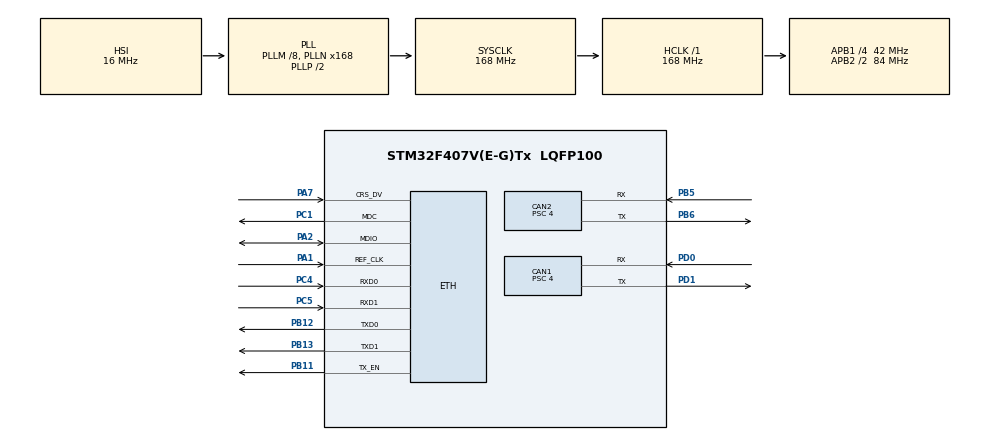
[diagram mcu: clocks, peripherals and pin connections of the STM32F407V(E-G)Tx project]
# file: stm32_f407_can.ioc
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CAN1.AWUM=DISABLE
CAN1.BS1=CAN_BS1_15TQ
CAN1.BS2=CAN_BS2_5TQ
CAN1.CalculateTimeQuantum=95.23809523809524
CAN1.Prescaler=4
CAN2.BS1=CAN_BS1_15TQ
CAN2.BS2=CAN_BS2_5TQ
CAN2.CalculateTimeQuantum=95.23809523809524
CAN2.Prescaler=4
ETH.MACAddr=00\:80\:E1\:83\:05\:17
ETH.MediaInterface=ETH_MEDIA_INTERFACE_RMII
ETH.PHY_DUPLEX_STATUS=0x0004
ETH.PHY_ISFR_INT4=0x2000
ETH.PHY_Name_RMII=DP83848_PHY_ADDRESS
ETH.PHY_SPEED_STATUS=0x0002
ETH.PHY_SR=0x10
ETH.PhyAddress=1
FREERTOS.Tasks01=defaultTask,0,128,StartDefaultTask,Default,NULL,Dynamic,NULL,NULL;canTask,0,256,canopen_dataprocess_thread,As external,NULL,Dynamic,NULL,NULL
LWIP.DHCP_DEBUG=LWIP_DBG_ON
LWIP.ETHARP_DEBUG=LWIP_DBG_OFF
LWIP.INET_DEBUG=LWIP_DBG_OFF
LWIP.LWIP_DBG_TYPES_ON=LWIP_DBG_ON
LWIP.NETIF_DEBUG=LWIP_DBG_OFF
LWIP.PBUF_DEBUG=LWIP_DBG_OFF
LWIP.SOCKETS_DEBUG=LWIP_DBG_ON
LWIP.SYS_DEBUG=LWIP_DBG_OFF
LWIP.Version=v2.0.3_Cube
Mcu.Family=STM32F4
Mcu.Name=STM32F407V(E-G)Tx
Mcu.Package=LQFP100
NVIC.CAN1_RX0_IRQn=true\:5\:0\:false\:false\:true\:true\:true\:true
NVIC.ETH_IRQn=true\:5\:0\:false\:false\:true\:true\:false\:true
NVIC.PriorityGroup=NVIC_PRIORITYGROUP_4
NVIC.TIM1_UP_TIM10_IRQn=true\:0\:0\:false\:false\:true\:false\:false\:true
NVIC.TimeBase=TIM1_UP_TIM10_IRQn
NVIC.TimeBaseIP=TIM1
PA1.Mode=RMII
PA1.Signal=ETH_REF_CLK
PA13.Mode=Trace_Asynchronous_SW
PA13.Signal=SYS_JTMS-SWDIO
PA14.Mode=Trace_Asynchronous_SW
PA14.Signal=SYS_JTCK-SWCLK
PA2.Mode=RMII
PA2.Signal=ETH_MDIO
PA7.Mode=RMII
PA7.Signal=ETH_CRS_DV
PB11.Mode=RMII
PB11.Signal=ETH_TX_EN
PB12.Mode=RMII
PB12.Signal=ETH_TXD0
PB13.Mode=RMII
PB13.Signal=ETH_TXD1
PB3.Mode=Trace_Asynchronous_SW
PB3.Signal=SYS_JTDO-SWO
PB5.GPIO_PuPd=GPIO_NOPULL
PB5.Mode=Slave
PB5.Signal=CAN2_RX
PB6.GPIO_PuPd=GPIO_NOPULL
PB6.Mode=Slave
PB6.Signal=CAN2_TX
PC1.Mode=RMII
PC1.Signal=ETH_MDC
PC4.Mode=RMII
PC4.Signal=ETH_RXD0
PC5.Mode=RMII
PC5.Signal=ETH_RXD1
PD0.GPIO_PuPd=GPIO_NOPULL
PD0.Mode=Master
PD0.Signal=CAN1_RX
PD1.GPIO_PuPd=GPIO_NOPULL
PD1.Mode=Master
PD1.Signal=CAN1_TX
ProjectManager.HeapSize=0x200
ProjectManager.StackSize=0x400
ProjectManager.TargetToolchain=MDK-ARM V5
RCC.48MHZClocksFreq_Value=84000000
RCC.AHBFreq_Value=168000000
RCC.APB1CLKDivider=RCC_HCLK_DIV4
RCC.APB1Freq_Value=42000000
RCC.APB1TimFreq_Value=84000000
RCC.APB2CLKDivider=RCC_HCLK_DIV2
RCC.APB2Freq_Value=84000000
RCC.APB2TimFreq_Value=168000000
RCC.CortexFreq_Value=168000000
RCC.HCLKFreq_Value=168000000
RCC.HSE_VALUE=25000000
RCC.HSI_VALUE=16000000
RCC.LSE_VALUE=32768
RCC.PLLM=8
RCC.PLLN=168
RCC.RCC_RTC_Clock_Source=RCC_RTCCLKSOURCE_LSE
RCC.RCC_RTC_Clock_SourceVirtual=RCC_RTCCLKSOURCE_LSE
RCC.SYSCLKFreq_VALUE=168000000
RCC.SYSCLKSource=RCC_SYSCLKSOURCE_PLLCLK
RCC.VCOOutputFreq_Value=336000000
VP_FREERTOS_VS_CMSIS_V1.Mode=CMSIS_V1
VP_LWIP_VS_Enabled.Mode=Enabled
VP_SYS_VS_tim1.Mode=TIM1
board=custom

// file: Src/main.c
/* USER CODE BEGIN Header */
/**
  ******************************************************************************
  * @file           : main.c
  * @brief          : Main program body
  ******************************************************************************
  * @attention
  *
  * <h2><center>&copy; Copyright (c) 2019 STMicroelectronics.
  * All rights reserved.</center></h2>
  *
  * This software component is licensed by ST under Ultimate Liberty license
  * SLA0044, the "License"; You may not use this file except in compliance with
  * the License. You may obtain a copy of the License at:
  *                             www.st.com/SLA0044
  *
  ******************************************************************************
  */
/* USER CODE END Header */

#include "main.h"
#include "cmsis_os.h"
#include "lwip.h"

CAN_HandleTypeDef hcan1;
CAN_HandleTypeDef hcan2;

osThreadId defaultTaskHandle;
osThreadId canTaskHandle;

void SystemClock_Config(void);
static void MX_GPIO_Init(void);
static void MX_CAN1_Init(void);
static void MX_CAN2_Init(void);
void StartDefaultTask(void const * argument);
extern void canopen_dataprocess_thread(void const * argument);

int main(void)
{

  /* MCU Configuration--------------------------------------------------------*/

  /* Reset of all peripherals, Initializes the Flash interface and the Systick. */
  HAL_Init();

  /* Configure the system clock */
  SystemClock_Config();

  /* Initialize all configured peripherals */
  MX_GPIO_Init();
  MX_CAN1_Init();
  MX_CAN2_Init();

  /* Create the thread(s) */
  /* definition and creation of defaultTask */
  osThreadDef(defaultTask, StartDefaultTask, osPriorityNormal, 0, 128);
  defaultTaskHandle = osThreadCreate(osThread(defaultTask), NULL);

  /* definition and creation of canTask */
  osThreadDef(canTask, canopen_dataprocess_thread, osPriorityNormal, 0, 256);
  canTaskHandle = osThreadCreate(osThread(canTask), NULL);

  /* Start scheduler */
  osKernelStart();

  /* We should never get here as control is now taken by the scheduler */

  /* Infinite loop */
  while (1)
  {

  }
}

void SystemClock_Config(void)
{
  RCC_OscInitTypeDef RCC_OscInitStruct = {0};
  RCC_ClkInitTypeDef RCC_ClkInitStruct = {0};

  /** Configure the main internal regulator output voltage
  */
  __HAL_RCC_PWR_CLK_ENABLE();
  __HAL_PWR_VOLTAGESCALING_CONFIG(PWR_REGULATOR_VOLTAGE_SCALE1);
  /** Initializes the CPU, AHB and APB busses clocks
  */
  RCC_OscInitStruct.OscillatorType = RCC_OSCILLATORTYPE_HSI;
  RCC_OscInitStruct.HSIState = RCC_HSI_ON;
  RCC_OscInitStruct.HSICalibrationValue = RCC_HSICALIBRATION_DEFAULT;
  RCC_OscInitStruct.PLL.PLLState = RCC_PLL_ON;
  RCC_OscInitStruct.PLL.PLLSource = RCC_PLLSOURCE_HSI;
  RCC_OscInitStruct.PLL.PLLM = 8;
  RCC_OscInitStruct.PLL.PLLN = 168;
  RCC_OscInitStruct.PLL.PLLP = RCC_PLLP_DIV2;
  RCC_OscInitStruct.PLL.PLLQ = 4;
  if (HAL_RCC_OscConfig(&RCC_OscInitStruct) != HAL_OK)
  {
    Error_Handler();
  }
  /** Initializes the CPU, AHB and APB busses clocks
  */
  RCC_ClkInitStruct.ClockType = RCC_CLOCKTYPE_HCLK|RCC_CLOCKTYPE_SYSCLK
                              |RCC_CLOCKTYPE_PCLK1|RCC_CLOCKTYPE_PCLK2;
  RCC_ClkInitStruct.SYSCLKSource = RCC_SYSCLKSOURCE_PLLCLK;
  RCC_ClkInitStruct.AHBCLKDivider = RCC_SYSCLK_DIV1;
  RCC_ClkInitStruct.APB1CLKDivider = RCC_HCLK_DIV4;
  RCC_ClkInitStruct.APB2CLKDivider = RCC_HCLK_DIV2;

  if (HAL_RCC_ClockConfig(&RCC_ClkInitStruct, FLASH_LATENCY_5) != HAL_OK)
  {
    Error_Handler();
  }
}

static void MX_CAN1_Init(void)
{

  hcan1.Instance = CAN1;
  hcan1.Init.Prescaler = 4;
  hcan1.Init.Mode = CAN_MODE_NORMAL;
  hcan1.Init.SyncJumpWidth = CAN_SJW_1TQ;
  hcan1.Init.TimeSeg1 = CAN_BS1_15TQ;
  hcan1.Init.TimeSeg2 = CAN_BS2_5TQ;
  hcan1.Init.TimeTriggeredMode = DISABLE;
  hcan1.Init.AutoBusOff = DISABLE;
  hcan1.Init.AutoWakeUp = DISABLE;
  hcan1.Init.AutoRetransmission = DISABLE;
  hcan1.Init.ReceiveFifoLocked = DISABLE;
  hcan1.Init.TransmitFifoPriority = DISABLE;
  if (HAL_CAN_Init(&hcan1) != HAL_OK)
  {
    Error_Handler();
  }
  /* USER CODE BEGIN CAN1_Init 2 */
  if (HAL_CAN_Start(&hcan1) != HAL_OK)
  {
    /* Start Error */
    Error_Handler();
  }
  /* USER CODE END CAN1_Init 2 */

}

static void MX_CAN2_Init(void)
{

  hcan2.Instance = CAN2;
  hcan2.Init.Prescaler = 4;
  hcan2.Init.Mode = CAN_MODE_NORMAL;
  hcan2.Init.SyncJumpWidth = CAN_SJW_1TQ;
  hcan2.Init.TimeSeg1 = CAN_BS1_15TQ;
  hcan2.Init.TimeSeg2 = CAN_BS2_5TQ;
  hcan2.Init.TimeTriggeredMode = DISABLE;
  hcan2.Init.AutoBusOff = DISABLE;
  hcan2.Init.AutoWakeUp = DISABLE;
  hcan2.Init.AutoRetransmission = DISABLE;
  hcan2.Init.ReceiveFifoLocked = DISABLE;
  hcan2.Init.TransmitFifoPriority = DISABLE;
  if (HAL_CAN_Init(&hcan2) != HAL_OK)
  {
    Error_Handler();
  }

}

static void MX_GPIO_Init(void)
{

  /* GPIO Ports Clock Enable */
  __HAL_RCC_GPIOC_CLK_ENABLE();
  __HAL_RCC_GPIOA_CLK_ENABLE();
  __HAL_RCC_GPIOB_CLK_ENABLE();
  __HAL_RCC_GPIOD_CLK_ENABLE();

}

/* USER CODE BEGIN 4 */
CAN_TxHeaderTypeDef   TxHeader;
CAN_RxHeaderTypeDef   RxHeader;
uint8_t               TxData[8];
uint8_t               RxData[8];
uint32_t              TxMailbox;
/* USER CODE END 4 */

void StartDefaultTask(void const * argument)
{
  /* init code for LWIP */
  MX_LWIP_Init();

  /* USER CODE BEGIN 5 */
  TxHeader.StdId = 0x11;
  TxHeader.ExtId = 0;
  TxHeader.RTR = CAN_RTR_DATA;
  TxHeader.IDE = CAN_ID_STD;
  TxHeader.DLC = 8;
  TxHeader.TransmitGlobalTime = DISABLE;
  /* Infinite loop */
  for(;;)
  {
		TxData[0] += 1;
    TxData[1] = 0xAD;
		if (HAL_CAN_AddTxMessage(&hcan1, &TxHeader, TxData, &TxMailbox) != HAL_OK) {
			printf("CAN transmit error.\n");
		} else {
			printf("CAN transmit OK.\n");
		}
    osDelay(5000);
  }
  /* USER CODE END 5 */
}

void HAL_TIM_PeriodElapsedCallback(TIM_HandleTypeDef *htim)
{
  if (htim->Instance == TIM1) {
    HAL_IncTick();
  }
}

void Error_Handler(void)
{
}

/************************ (C) COPYRIGHT STMicroelectronics *****END OF FILE****/
